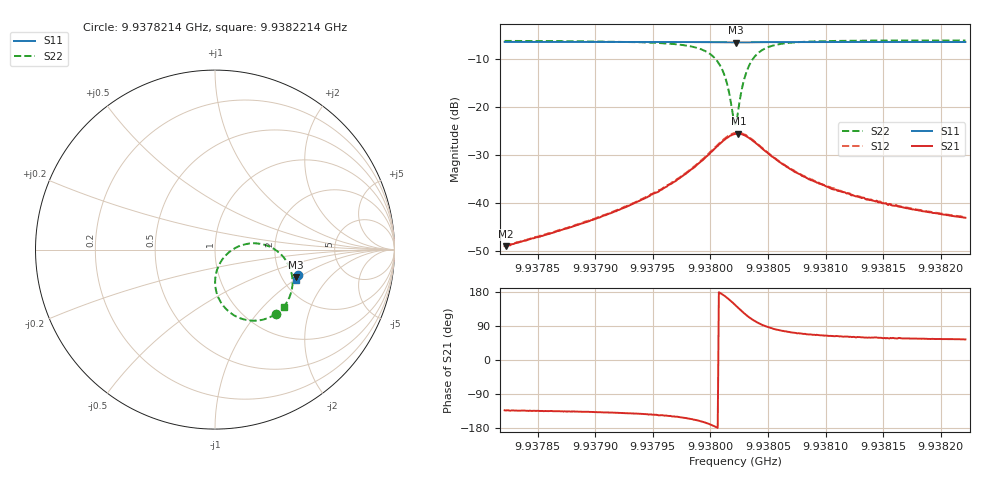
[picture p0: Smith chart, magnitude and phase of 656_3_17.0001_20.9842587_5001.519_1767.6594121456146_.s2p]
#  HZ  S  RI  R  50.00
! Rohde & Schwarz Vector Network Analyzer
! Rohde-Schwarz,ZNB20-2Port,1311601062101988,3.16
! Created: UTC 3/20/2024, 11:21:27 PM
! freq[Hz]  re:S11  im:S11  re:S21  im:S21  re:S12  im:S12  re:S22  im:S22
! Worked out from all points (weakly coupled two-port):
!   401 points, 9.9378214 GHz to 9.9382214 GHz, reference 50 ohm
!   highest |S21| = -25.53 dB at 9.9380244 GHz (marker M1); lowest = -49.1 dB at 9.9378224 GHz (marker M2)
!   lowest |S11| = -6.5 dB at 9.9380224 GHz (marker M3), VSWR 2.80, Z = 119 - j46.7 ohm
!   |S11| at or under -10 dB: nowhere
!   |S22| runs from -23.6 to -6.1 dB; largest |S21 - S12| = 0.0021
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9.93782136e9  0.4598 -0.1425  -0.0024 -0.0026  -0.00247 -0.00255  0.3389 -0.3578
9.93782237e9  0.4598 -0.1426  -0.00241 -0.00256  -0.00249 -0.00257  0.3385 -0.3581
9.93788837e9  0.4578 -0.147  -0.00443 -0.00417  -0.00452 -0.00418  0.3173 -0.3709
9.93795538e9  0.4555 -0.152  -0.0109 -0.00733  -0.0112 -0.00764  0.2569 -0.3923
9.93798738e9  0.4532 -0.1545  -0.0226 -0.00897  -0.0231 -0.00887  0.1592 -0.3886
9.93800338e9  0.4511 -0.1554  -0.0364 -0.00343  -0.0371 -0.00289  0.0559 -0.3248
9.93800838e9  0.4503 -0.1552  -0.0414 0.00209  -0.0425 0.00282  0.021 -0.2725
9.93801238e9  0.4495 -0.1546  -0.0448 0.00862  -0.0458 0.00997  0.00292 -0.2128
9.93801538e9  0.4491 -0.1542  -0.046 0.0151  -0.0471 0.0165  0.00164 -0.1583
9.93801938e9  0.4489 -0.1532  -0.0454 0.0247  -0.0458 0.0266  0.0248 -0.0815
9.93802138e9  0.4492 -0.1527  -0.0433 0.0297  -0.0435 0.0315  0.0477 -0.0458
9.93802238e9  0.4491 -0.1525  -0.042 0.0319  -0.0421 0.0339  0.0626 -0.0292
9.93802438e9  0.4494 -0.152  -0.0387 0.0361  -0.0384 0.038  0.0962 -0.0013
9.93802838e9  0.4502 -0.1513  -0.0302 0.0417  -0.0296 0.0435  0.1737 0.0309
9.93803138e9  0.4508 -0.1513  -0.0234 0.0434  -0.0225 0.0452  0.2317 0.0347
9.93803538e9  0.4518 -0.1512  -0.0149 0.0435  -0.0139 0.0446  0.298 0.019
9.93804138e9  0.4527 -0.1519  -0.00566 0.0398  -0.00462 0.0405  0.3662 -0.0252
9.93805738e9  0.4538 -0.154  0.0048 0.0278  0.00535 0.0279  0.4278 -0.1382
9.93808839e9  0.4536 -0.1573  0.0068 0.0157  0.00722 0.0159  0.4244 -0.2378
9.93812239e9  0.4526 -0.1603  0.00586 0.0104  0.00617 0.0105  0.4086 -0.279
9.93815539e9  0.4517 -0.1625  0.00533 0.00812  0.00532 0.00809  0.3972 -0.299
9.9382214e9  0.4497 -0.1671  0.00405 0.00567  0.00423 0.00567  0.382 -0.3197
